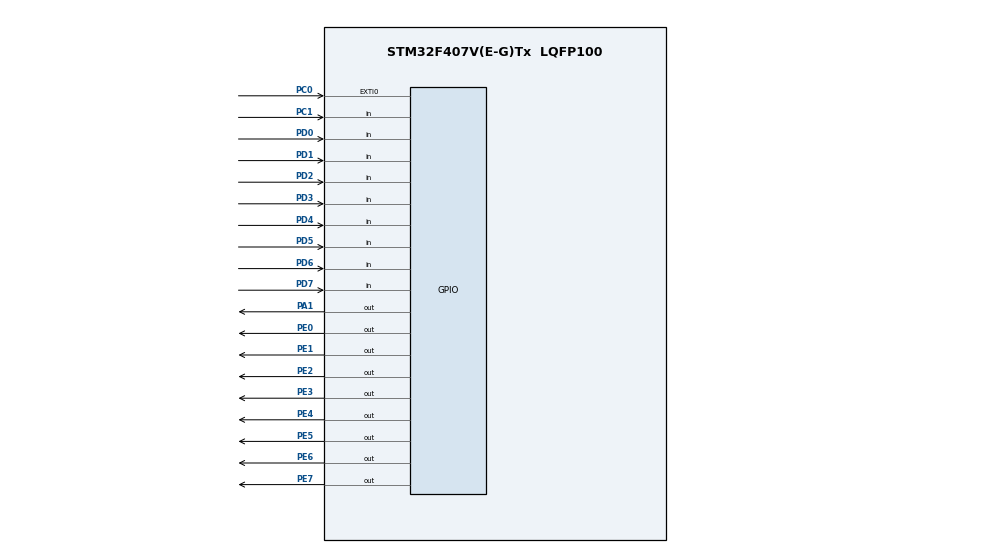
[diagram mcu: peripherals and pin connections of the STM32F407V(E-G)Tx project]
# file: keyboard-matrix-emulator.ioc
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Mcu.Family=STM32F4
Mcu.Name=STM32F407V(E-G)Tx
Mcu.Package=LQFP100
NVIC.PriorityGroup=NVIC_PRIORITYGROUP_4
PA1.GPIO_Speed=GPIO_SPEED_FREQ_VERY_HIGH
PA1.Signal=GPIO_Output
PC0.GPIO_ModeDefaultEXTI=GPIO_MODE_IT_FALLING
PC0.Signal=GPXTI0
PC1.Signal=GPIO_Input
PD0.GPIO_PuPd=GPIO_PULLUP
PD0.Signal=GPIO_Input
PD1.GPIO_PuPd=GPIO_PULLUP
PD1.Signal=GPIO_Input
PD2.GPIO_PuPd=GPIO_PULLUP
PD2.Signal=GPIO_Input
PD3.GPIO_PuPd=GPIO_PULLUP
PD3.Signal=GPIO_Input
PD4.GPIO_PuPd=GPIO_PULLUP
PD4.Signal=GPIO_Input
PD5.GPIO_PuPd=GPIO_PULLUP
PD5.Signal=GPIO_Input
PD6.GPIO_PuPd=GPIO_PULLUP
PD6.Signal=GPIO_Input
PD7.GPIO_PuPd=GPIO_PULLUP
PD7.Signal=GPIO_Input
PE0.GPIO_Speed=GPIO_SPEED_FREQ_VERY_HIGH
PE0.PinState=GPIO_PIN_SET
PE0.Signal=GPIO_Output
PE1.GPIO_Speed=GPIO_SPEED_FREQ_VERY_HIGH
PE1.PinState=GPIO_PIN_SET
PE1.Signal=GPIO_Output
PE2.GPIO_Speed=GPIO_SPEED_FREQ_VERY_HIGH
PE2.PinState=GPIO_PIN_SET
PE2.Signal=GPIO_Output
PE3.GPIO_Speed=GPIO_SPEED_FREQ_VERY_HIGH
PE3.PinState=GPIO_PIN_SET
PE3.Signal=GPIO_Output
PE4.GPIO_Speed=GPIO_SPEED_FREQ_VERY_HIGH
PE4.PinState=GPIO_PIN_SET
PE4.Signal=GPIO_Output
PE5.GPIO_Speed=GPIO_SPEED_FREQ_VERY_HIGH
PE5.PinState=GPIO_PIN_SET
PE5.Signal=GPIO_Output
PE6.GPIO_Speed=GPIO_SPEED_FREQ_VERY_HIGH
PE6.PinState=GPIO_PIN_SET
PE6.Signal=GPIO_Output
PE7.GPIO_Speed=GPIO_SPEED_FREQ_VERY_HIGH
PE7.PinState=GPIO_PIN_SET
PE7.Signal=GPIO_Output
PH0-OSC_IN.Mode=HSE-External-Oscillator
PH0-OSC_IN.Signal=RCC_OSC_IN
PH1-OSC_OUT.Mode=HSE-External-Oscillator
PH1-OSC_OUT.Signal=RCC_OSC_OUT
ProjectManager.HeapSize=0x200
ProjectManager.StackSize=0x400
ProjectManager.TargetToolchain=Makefile
RCC.48MHZClocksFreq_Value=48000000
RCC.AHBFreq_Value=168000000
RCC.APB1CLKDivider=RCC_HCLK_DIV4
RCC.APB1Freq_Value=42000000
RCC.APB1TimFreq_Value=84000000
RCC.APB2CLKDivider=RCC_HCLK_DIV2
RCC.APB2Freq_Value=84000000
RCC.APB2TimFreq_Value=168000000
RCC.CortexFreq_Value=168000000
RCC.HCLKFreq_Value=168000000
RCC.HSE_VALUE=8000000
RCC.HSI_VALUE=16000000
RCC.LSE_VALUE=32768
RCC.PLLM=8
RCC.PLLN=336
RCC.PLLQ=7
RCC.PLLSourceVirtual=RCC_PLLSOURCE_HSE
RCC.SYSCLKFreq_VALUE=168000000
RCC.SYSCLKSource=RCC_SYSCLKSOURCE_PLLCLK
RCC.VCOOutputFreq_Value=336000000
board=custom

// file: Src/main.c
/* USER CODE BEGIN Header */
/**
  ******************************************************************************
  * @file           : main.c
  * @brief          : Main program body
  ******************************************************************************
  * @attention
  *
  * <h2><center>&copy; Copyright (c) 2020 STMicroelectronics.
  * All rights reserved.</center></h2>
  *
  * This software component is licensed by ST under BSD 3-Clause license,
  * the "License"; You may not use this file except in compliance with the
  * License. You may obtain a copy of the License at:
  *                        opensource.org/licenses/BSD-3-Clause
  *
  ******************************************************************************
  */
/* USER CODE END Header */

#include "main.h"
volatile byte rowcache[16];

void SystemClock_Config(void);
static void MX_GPIO_Init(void);

int main(void)
{
  /* USER CODE BEGIN 1 */

	// init to all keys up
	for (int i=0; i<16; i++) {
		rowcache[i] = 255;
	}
	//rowcache[16] = { 255,255,255,255, 255,255,255,255, 255,255,255,255, 255,255,255,255 };

// '1' key is intersection of row 0 and column 1 , so bottom 4 bits 0 and next 3 bits 1  = 0x10
// '1' key PS2 event is 0x16
// So for '1' at 0x16 into the table, we put 0x10
// '2' key is insersection of row 0 and column 2 , so bottom 4 bits 0 and next 3 bits 010 = 0x20
// '2' key PS2 envent is 0x1e
// So for '2' at 0x1e into the table, we put 0x20
// 'A' key is intersection of row 2 and column 6 , so bottom 4 bits 0010 and next 3 bits 110 = 0x62
// 'A' key PS2 event is 0x1c
// So for 'A' at 0x1c into the table, we put 0x62
//
// Select is F10 on PS2 keyboard
volatile byte keyarray[256] = {255,255,255,0x17,0x76,0x56,0x66,0x46,  // 0x00 - 0x07
                      255,0x67,255,255,0x07,0x37,0x12,255,  // 0x08 - 0x0f
                      255,0x2c,0x06,255,0x16,0x64,0x10,255,  // 0x10 - 0x17
                      255,255,0x75,0x05,0x62,0x45,0x20,255,  // 0x18 - 0x1f
                      255,0x03,0x55,0x13,0x23,0x40,0x30,255,  // 0x20 - 0x27
                      255,0x08,0x35,0x33,0x15,0x74,0x50,255,  // 0x28 - 0x2f
                      255,0x34,0x72,0x53,0x43,0x65,0x60,255,  // 0x30 - 0x37
                      255,255,0x24,0x73,0x25,0x70,0x01,255,  // 0x38 - 0x3f
                      255,0x22,0x04,0x63,0x44,0x00,0x11,255,  // 0x40 - 0x47
                      255,0x32,0x42,0x14,0x71,0x54,0x21,255,  // 0x48 - 0x4f
                      255,255,0x02,255,0x51,0x31,255,255,  // 0x50 - 0x57
                      0x36,0x06,0x77,0x61,255,0x41,255,255,  // 0x58 - 0x5f
                      255,255,255,255,255,255,0x57,255,  // 0x60 - 0x67
                      255,255,255,255,255,255,255,255,  // 0x68 - 0x6f
                      255,255,255,255,255,255,0x27,255,  // 0x70 - 0x77
                      0x47,255,255,255,255,255,255,255,  // 0x78 - 0x7f
// for E0 codes (basically we OR the EO code with 0x80. eg. Left arrow is E0 6B, so EB is the entry below for left arrow
                      255,255,255,255,255,255,255,255,  // 0x80 - 0x87
                      255,255,255,255,255,255,255,255,  // 0x88 - 0x8f
                      255,255,255,255,255,255,255,255,  // 0x90 - 0x97
                      255,255,255,255,255,255,255,255,  // 0x98 - 0x9f
                      255,255,255,255,255,255,255,255,  // 0xa0 - 0xa7
                      255,255,255,255,255,255,255,255,  // 0xa8 - 0xaf
                      255,255,255,255,255,255,255,255,  // 0xb0 - 0xb7
                      255,255,255,255,255,255,255,255,  // 0xb8 - 0xbf
                      255,255,255,255,255,255,255,255,  // 0xc0 - 0xc7
                      255,255,255,255,255,255,255,255,  // 0xc8 - 0xcf
                      255,255,255,255,255,255,255,255,  // 0xd0 - 0xd7
                      255,255,255,255,255,255,255,255,  // 0xd8 - 0xdf
                      255,255,255,255,255,255,255,255,  // 0xe0 - 0xe7
                      255,255,255,0x48,0x18,255,255,255,  // 0xe8 - 0xef
                      0x28,0x38,0x68,255,0x78,0x58,255,255,  // 0xf0 - 0xf7
                      255,255,255,255,255,255,255,255 }; // 0xf8 - 0xff

  byte special_key_flag;
  byte last_key;
  uint32_t col;
  uint32_t row;
  byte pressed_row;
  byte pressed_col;

  last_key = 0;

  special_key_flag = 0; // for E0 codes

  /* USER CODE END 1 */

  /* MCU Configuration--------------------------------------------------------*/

  /* Reset of all peripherals, Initializes the Flash interface and the Systick. */

  LL_APB2_GRP1_EnableClock(LL_APB2_GRP1_PERIPH_SYSCFG);
  LL_APB1_GRP1_EnableClock(LL_APB1_GRP1_PERIPH_PWR);

  NVIC_SetPriorityGrouping(NVIC_PRIORITYGROUP_4);

  /* System interrupt init*/

  /* Configure the system clock */
  SystemClock_Config();

  /* Initialize all configured peripherals */
  MX_GPIO_Init();
  /* USER CODE BEGIN 2 */

  LL_GPIO_SetOutputPin(GPIOA,LL_GPIO_PIN_1);

  NVIC_EnableIRQ(EXTI4_IRQn);
  NVIC_SetPriority(EXTI4_IRQn,0x03);

  NVIC_EnableIRQ(EXTI0_IRQn);
  NVIC_SetPriority(EXTI0_IRQn,0x03);
  NVIC_EnableIRQ(EXTI1_IRQn);
  NVIC_SetPriority(EXTI1_IRQn,0x03);
  NVIC_EnableIRQ(EXTI2_IRQn);
  NVIC_SetPriority(EXTI2_IRQn,0x03);
  NVIC_EnableIRQ(EXTI3_IRQn);
  NVIC_SetPriority(EXTI3_IRQn,0x03);

  kbd_begin(PS2_DATA_PIN, PS2_CLOCK_PIN, TRUE);

  //CDC_Transmit_FS(buffer,sizeof(buffer));
  /* USER CODE END 2 */

  /* Infinite loop */
  while (1)
  {

    /* USER CODE BEGIN 3 */

    //row = (GPIOD->IDR & 0x000f);
    //col = rowcache[row];
    //GPIOE->ODR = (uint32_t) col;

    if(kbd_available()) {
      // Get a PS2 keycode
      byte       c = kbd_read();
      if ((c != 0xf0) && (c!= 0xe0)) {
        c|=special_key_flag; // if we previously had an E0 we OR the current key with 0x80
        special_key_flag=0;
        if (last_key == 0xf0) {
          // UP
          pressed_row = keyarray[c] & 0x0f;
          pressed_col = (keyarray[c] & 0x70) >> 4;
	  rowcache[pressed_row] |= (1 << pressed_col);
        } else {
          // DOWN
	  if (keyarray[c] != 0xff) {
            pressed_row = keyarray[c] & 0x0f;
            pressed_col = (keyarray[c] & 0x70) >> 4;
	    rowcache[pressed_row] &= ~(1 << pressed_col);
          }
        }
      } else if (c==0xe0) {
        special_key_flag=0x80;
      }
      last_key = c;

      //sprintf((char * restrict) buffer,"Key %d\n",c);
      //CDC_Transmit_FS(buffer,sizeof(buffer));

      //LL_mDelay(2000);
    }

  }
  /* USER CODE END 3 */
}

void SystemClock_Config(void)
{
  LL_FLASH_SetLatency(LL_FLASH_LATENCY_5);

  if(LL_FLASH_GetLatency() != LL_FLASH_LATENCY_5)
  {
  Error_Handler();
  }
  LL_PWR_SetRegulVoltageScaling(LL_PWR_REGU_VOLTAGE_SCALE1);
  LL_RCC_HSE_Enable();

   /* Wait till HSE is ready */
  while(LL_RCC_HSE_IsReady() != 1)
  {

  }
  LL_RCC_PLL_ConfigDomain_SYS(LL_RCC_PLLSOURCE_HSE, LL_RCC_PLLM_DIV_8, 336, LL_RCC_PLLP_DIV_2);
  LL_RCC_PLL_Enable();

   /* Wait till PLL is ready */
  while(LL_RCC_PLL_IsReady() != 1)
  {

  }
  LL_RCC_SetAHBPrescaler(LL_RCC_SYSCLK_DIV_1);
  LL_RCC_SetAPB1Prescaler(LL_RCC_APB1_DIV_4);
  LL_RCC_SetAPB2Prescaler(LL_RCC_APB2_DIV_2);
  LL_RCC_SetSysClkSource(LL_RCC_SYS_CLKSOURCE_PLL);

   /* Wait till System clock is ready */
  while(LL_RCC_GetSysClkSource() != LL_RCC_SYS_CLKSOURCE_STATUS_PLL)
  {

  }
  LL_Init1msTick(168000000);
  LL_SYSTICK_SetClkSource(LL_SYSTICK_CLKSOURCE_HCLK);
  LL_SetSystemCoreClock(168000000);
}

static void MX_GPIO_Init(void)
{
  LL_EXTI_InitTypeDef EXTI_InitStruct = {0};
  LL_GPIO_InitTypeDef GPIO_InitStruct = {0};

  /* GPIO Ports Clock Enable */
  LL_AHB1_GRP1_EnableClock(LL_AHB1_GRP1_PERIPH_GPIOE);
  LL_AHB1_GRP1_EnableClock(LL_AHB1_GRP1_PERIPH_GPIOH);
  LL_AHB1_GRP1_EnableClock(LL_AHB1_GRP1_PERIPH_GPIOC);
  LL_AHB1_GRP1_EnableClock(LL_AHB1_GRP1_PERIPH_GPIOA);
  LL_AHB1_GRP1_EnableClock(LL_AHB1_GRP1_PERIPH_GPIOD);

  /**/
  LL_GPIO_SetOutputPin(GPIOE, LL_GPIO_PIN_0|LL_GPIO_PIN_1|LL_GPIO_PIN_2|LL_GPIO_PIN_3
                          |LL_GPIO_PIN_4|LL_GPIO_PIN_5|LL_GPIO_PIN_6|LL_GPIO_PIN_7);

  /**/
  LL_GPIO_ResetOutputPin(GPIOA, LL_GPIO_PIN_1); // LED on my board

  /**/
  GPIO_InitStruct.Pin = LL_GPIO_PIN_0|LL_GPIO_PIN_1|LL_GPIO_PIN_2|LL_GPIO_PIN_3
                          |LL_GPIO_PIN_4|LL_GPIO_PIN_5|LL_GPIO_PIN_6|LL_GPIO_PIN_7;
  GPIO_InitStruct.Mode = LL_GPIO_MODE_OUTPUT;
  GPIO_InitStruct.Speed = LL_GPIO_SPEED_FREQ_VERY_HIGH;
  GPIO_InitStruct.OutputType = LL_GPIO_OUTPUT_PUSHPULL;
  GPIO_InitStruct.Pull = LL_GPIO_PULL_NO;
  LL_GPIO_Init(GPIOE, &GPIO_InitStruct);

  /**/
  GPIO_InitStruct.Pin = LL_GPIO_PIN_5;
  GPIO_InitStruct.Mode = LL_GPIO_MODE_INPUT;
  GPIO_InitStruct.Pull = LL_GPIO_PULL_NO;
  LL_GPIO_Init(GPIOC, &GPIO_InitStruct);

  /**/
  GPIO_InitStruct.Pin = LL_GPIO_PIN_1;
  GPIO_InitStruct.Mode = LL_GPIO_MODE_OUTPUT;
  GPIO_InitStruct.Speed = LL_GPIO_SPEED_FREQ_VERY_HIGH;
  GPIO_InitStruct.OutputType = LL_GPIO_OUTPUT_PUSHPULL;
  GPIO_InitStruct.Pull = LL_GPIO_PULL_NO;
  LL_GPIO_Init(GPIOA, &GPIO_InitStruct);

  /**/
  GPIO_InitStruct.Pin = LL_GPIO_PIN_0|LL_GPIO_PIN_1|LL_GPIO_PIN_2|LL_GPIO_PIN_3
                          |LL_GPIO_PIN_4|LL_GPIO_PIN_5|LL_GPIO_PIN_6|LL_GPIO_PIN_7;
  GPIO_InitStruct.Mode = LL_GPIO_MODE_INPUT;
  GPIO_InitStruct.Pull = LL_GPIO_PULL_UP;
  LL_GPIO_Init(GPIOD, &GPIO_InitStruct);

  /**/
  LL_SYSCFG_SetEXTISource(LL_SYSCFG_EXTI_PORTC, LL_SYSCFG_EXTI_LINE4);

  /**/
  EXTI_InitStruct.Line_0_31 = LL_EXTI_LINE_4;
  EXTI_InitStruct.LineCommand = ENABLE;
  EXTI_InitStruct.Mode = LL_EXTI_MODE_IT;
  EXTI_InitStruct.Trigger = LL_EXTI_TRIGGER_FALLING;
  LL_EXTI_Init(&EXTI_InitStruct);

  /**/
  LL_GPIO_SetPinPull(GPIOC, LL_GPIO_PIN_4, LL_GPIO_PULL_NO);

  /**/
  LL_GPIO_SetPinMode(GPIOC, LL_GPIO_PIN_4, LL_GPIO_MODE_INPUT);

  /* Init ints on the row pins*/
  LL_SYSCFG_SetEXTISource(LL_SYSCFG_EXTI_PORTD, LL_SYSCFG_EXTI_LINE0);
  EXTI_InitStruct.Line_0_31 = LL_EXTI_LINE_0;
  EXTI_InitStruct.LineCommand = ENABLE;
  EXTI_InitStruct.Mode = LL_EXTI_MODE_IT;
  EXTI_InitStruct.Trigger = LL_EXTI_TRIGGER_FALLING|LL_EXTI_TRIGGER_RISING;
  LL_EXTI_Init(&EXTI_InitStruct);

  LL_SYSCFG_SetEXTISource(LL_SYSCFG_EXTI_PORTD, LL_SYSCFG_EXTI_LINE1);
  EXTI_InitStruct.Line_0_31 = LL_EXTI_LINE_1;
  EXTI_InitStruct.LineCommand = ENABLE;
  EXTI_InitStruct.Mode = LL_EXTI_MODE_IT;
  EXTI_InitStruct.Trigger = LL_EXTI_TRIGGER_FALLING|LL_EXTI_TRIGGER_RISING;
  LL_EXTI_Init(&EXTI_InitStruct);

  LL_SYSCFG_SetEXTISource(LL_SYSCFG_EXTI_PORTD, LL_SYSCFG_EXTI_LINE2);
  EXTI_InitStruct.Line_0_31 = LL_EXTI_LINE_2;
  EXTI_InitStruct.LineCommand = ENABLE;
  EXTI_InitStruct.Mode = LL_EXTI_MODE_IT;
  EXTI_InitStruct.Trigger = LL_EXTI_TRIGGER_FALLING|LL_EXTI_TRIGGER_RISING;
  LL_EXTI_Init(&EXTI_InitStruct);

  LL_SYSCFG_SetEXTISource(LL_SYSCFG_EXTI_PORTD, LL_SYSCFG_EXTI_LINE3);
  EXTI_InitStruct.Line_0_31 = LL_EXTI_LINE_3;
  EXTI_InitStruct.LineCommand = ENABLE;
  EXTI_InitStruct.Mode = LL_EXTI_MODE_IT;
  EXTI_InitStruct.Trigger = LL_EXTI_TRIGGER_FALLING|LL_EXTI_TRIGGER_RISING;
  LL_EXTI_Init(&EXTI_InitStruct);

}

void Error_Handler(void)
{
}

/************************ (C) COPYRIGHT STMicroelectronics *****END OF FILE****/
